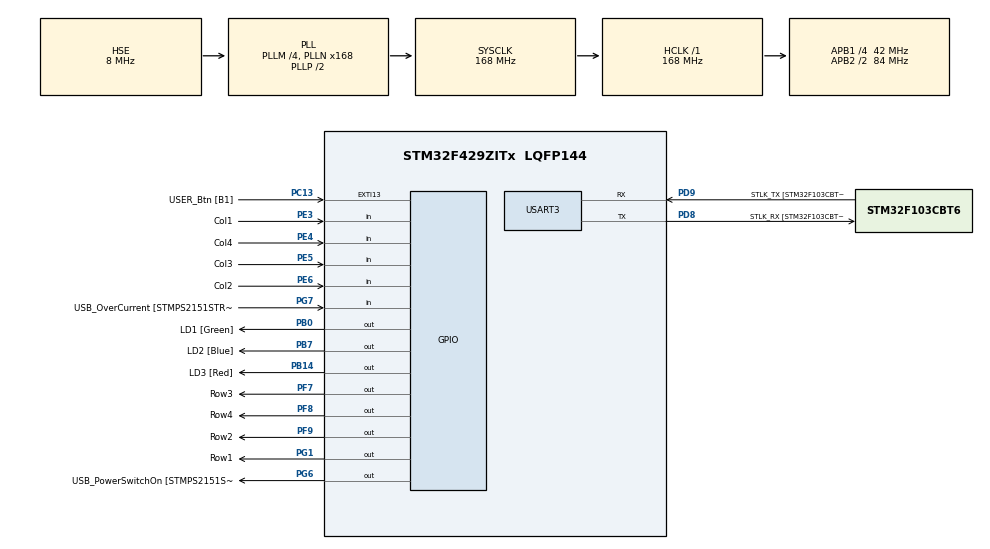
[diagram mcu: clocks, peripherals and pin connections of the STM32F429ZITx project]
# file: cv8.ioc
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Mcu.Family=STM32F4
Mcu.Name=STM32F429ZITx
Mcu.Package=LQFP144
NVIC.PriorityGroup=NVIC_PRIORITYGROUP_4
NVIC.TIM2_IRQn=true\:0\:0\:false\:false\:true\:true\:true
PA1.GPIO_Label=RMII_REF_CLK [LAN8742A-CZ-TR_REFCLK0]
PA1.Signal=ETH_REF_CLK
PA10.GPIO_Label=USB_ID
PA10.Signal=USB_OTG_FS_ID
PA11.GPIO_Label=USB_DM
PA11.Signal=USB_OTG_FS_DM
PA12.GPIO_Label=USB_DP
PA12.Signal=USB_OTG_FS_DP
PA13.GPIO_Label=TMS
PA13.Mode=Serial_Wire
PA13.Signal=SYS_JTMS-SWDIO
PA14.GPIO_Label=TCK
PA14.Mode=Serial_Wire
PA14.Signal=SYS_JTCK-SWCLK
PA2.GPIO_Label=RMII_MDIO [LAN8742A-CZ-TR_MDIO]
PA2.Signal=ETH_MDIO
PA7.GPIO_Label=RMII_CRS_DV [LAN8742A-CZ-TR_CRS_DV]
PA7.Signal=ETH_CRS_DV
PA8.GPIO_Label=USB_SOF [TP1]
PA8.Signal=USB_OTG_FS_SOF
PA9.GPIO_Label=USB_VBUS
PA9.Signal=USB_OTG_FS_VBUS
PB0.GPIO_Label=LD1 [Green]
PB0.Signal=GPIO_Output
PB13.GPIO_Label=RMII_TXD1 [LAN8742A-CZ-TR_TXD1]
PB13.Signal=ETH_TXD1
PB14.GPIO_Label=LD3 [Red]
PB14.Signal=GPIO_Output
PB7.GPIO_Label=LD2 [Blue]
PB7.Signal=GPIO_Output
PC1.GPIO_Label=RMII_MDC [LAN8742A-CZ-TR_MDC]
PC1.Signal=ETH_MDC
PC13.GPIO_Label=USER_Btn [B1]
PC13.Signal=GPXTI13
PC14/OSC32_IN.Mode=LSE-External-Oscillator
PC14/OSC32_IN.Signal=RCC_OSC32_IN
PC15/OSC32_OUT.Mode=LSE-External-Oscillator
PC15/OSC32_OUT.Signal=RCC_OSC32_OUT
PC4.GPIO_Label=RMII_RXD0 [LAN8742A-CZ-TR_RXD0]
PC4.Signal=ETH_RXD0
PC5.GPIO_Label=RMII_RXD1 [LAN8742A-CZ-TR_RXD1]
PC5.Signal=ETH_RXD1
PD8.GPIO_Label=STLK_RX [STM32F103CBT6_PA3]
PD8.Mode=Asynchronous
PD8.Signal=USART3_TX
PD9.GPIO_Label=STLK_TX [STM32F103CBT6_PA2]
PD9.Mode=Asynchronous
PD9.Signal=USART3_RX
PE3.GPIO_Label=Col1
PE3.GPIO_PuPd=GPIO_PULLUP
PE3.Signal=GPIO_Input
PE4.GPIO_Label=Col4
PE4.GPIO_PuPd=GPIO_PULLUP
PE4.Signal=GPIO_Input
PE5.GPIO_Label=Col3
PE5.GPIO_PuPd=GPIO_PULLUP
PE5.Signal=GPIO_Input
PE6.GPIO_Label=Col2
PE6.GPIO_PuPd=GPIO_PULLUP
PE6.Signal=GPIO_Input
PF7.GPIO_Label=Row3
PF7.GPIO_ModeDefaultOutputPP=GPIO_MODE_OUTPUT_OD
PF7.Signal=GPIO_Output
PF8.GPIO_Label=Row4
PF8.GPIO_ModeDefaultOutputPP=GPIO_MODE_OUTPUT_OD
PF8.Signal=GPIO_Output
PF9.GPIO_Label=Row2
PF9.GPIO_ModeDefaultOutputPP=GPIO_MODE_OUTPUT_OD
PF9.Signal=GPIO_Output
PG1.GPIO_Label=Row1
PG1.GPIO_ModeDefaultOutputPP=GPIO_MODE_OUTPUT_OD
PG1.Signal=GPIO_Output
PG11.GPIO_Label=RMII_TX_EN [LAN8742A-CZ-TR_TXEN]
PG11.Signal=ETH_TX_EN
PG13.GPIO_Label=RMII_TXD0 [LAN8742A-CZ-TR_TXD0]
PG13.Signal=ETH_TXD0
PG6.GPIO_Label=USB_PowerSwitchOn [STMPS2151STR_EN]
PG6.Signal=GPIO_Output
PG7.GPIO_Label=USB_OverCurrent [STMPS2151STR_FAULT]
PG7.Signal=GPIO_Input
PH0/OSC_IN.GPIO_Label=MCO [STM32F103CBT6_PA8]
PH0/OSC_IN.Mode=HSE-External-Clock-Source
PH0/OSC_IN.Signal=RCC_OSC_IN
PH1/OSC_OUT.Mode=HSE-External-Clock-Source
PH1/OSC_OUT.Signal=RCC_OSC_OUT
ProjectManager.HeapSize=0x200
ProjectManager.StackSize=0x400
ProjectManager.TargetToolchain=STM32CubeIDE
RCC.48MHZClocksFreq_Value=48000000
RCC.AHBFreq_Value=168000000
RCC.APB1CLKDivider=RCC_HCLK_DIV4
RCC.APB1Freq_Value=42000000
RCC.APB1TimFreq_Value=84000000
RCC.APB2CLKDivider=RCC_HCLK_DIV2
RCC.APB2Freq_Value=84000000
RCC.APB2TimCLKDivider=2
RCC.APB2TimFreq_Value=168000000
RCC.CortexFreq_Value=168000000
RCC.HCLKFreq_Value=168000000
RCC.HSE_VALUE=8000000
RCC.HSI_VALUE=16000000
RCC.PLLM=4
RCC.PLLMUL=RCC_PLL_MUL9
RCC.PLLN=168
RCC.PLLQ=7
RCC.PLLSourceVirtual=RCC_PLLSOURCE_HSE
RCC.PRESCALERUSB=RCC_USBCLKSOURCE_PLL_DIV1_5
RCC.SYSCLKFreq_VALUE=168000000
RCC.SYSCLKSource=RCC_SYSCLKSOURCE_PLLCLK
RCC.SYSCLKSourceVirtual=RCC_SYSCLKSOURCE_PLLCLK
RCC.USBFreq_Value=48000000
RCC.VCOOutputFreq_Value=336000000
TIM2.AutoReloadPreload=TIM_AUTORELOAD_PRELOAD_ENABLE
TIM2.Period=99
TIM2.Prescaler=8399
USART3.VirtualMode=VM_ASYNC
VP_TIM2_VS_ClockSourceINT.Mode=Internal
board=NUCLEO-F429ZI

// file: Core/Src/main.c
/* USER CODE BEGIN Header */
/**
 ******************************************************************************
 * @file           : main.c
 * @brief          : Main program body
 ******************************************************************************
 * @attention
 *
 * <h2><center>&copy; Copyright (c) 2020 STMicroelectronics.
 * All rights reserved.</center></h2>
 *
 * This software component is licensed by ST under BSD 3-Clause license,
 * the "License"; You may not use this file except in compliance with the
 * License. You may obtain a copy of the License at:
 *                        opensource.org/licenses/BSD-3-Clause
 *
 ******************************************************************************
 */
/* USER CODE END Header */

#include "main.h"

/* USER CODE BEGIN Includes */
#include <stdio.h>
/* USER CODE END Includes */

TIM_HandleTypeDef htim2;

UART_HandleTypeDef huart3;

/* USER CODE BEGIN PV */
static volatile uint8_t key = -1;
/* USER CODE END PV */

void SystemClock_Config(void);
static void MX_GPIO_Init(void);
static void MX_USART3_UART_Init(void);
static void MX_TIM2_Init(void);

/* USER CODE BEGIN 0 */
int __io_putchar(int ch) {
	ITM_SendChar(ch);
	return 0;
}
/* USER CODE END 0 */

int main(void) {
	/* USER CODE BEGIN 1 */
	const uint8_t code[5] = { 7, 9, 3, 2, 12 };
	static uint8_t pressed[5] = { 0, 0, 0, 0, 0 };
	uint8_t counter = 0;
	uint32_t tick = 0;
	uint8_t match = 0;
	static uint32_t delay = 0;
	/* USER CODE END 1 */

	/* MCU Configuration--------------------------------------------------------*/

	/* Reset of all peripherals, Initializes the Flash interface and the Systick. */
	HAL_Init();

	/* Configure the system clock */
	SystemClock_Config();

	/* Initialize all configured peripherals */
	MX_GPIO_Init();
	MX_USART3_UART_Init();
	MX_TIM2_Init();
	/* USER CODE BEGIN 2 */

	/* USER CODE BEGIN 2 */
	HAL_TIM_Base_Start_IT(&htim2);
	/* USER CODE END 2 */

	/* Infinite loop */
	/* USER CODE BEGIN WHILE */
	while (1) {
		HAL_Delay(250);
		tick = HAL_GetTick();

		if ((tick - delay) > 3000) // Checking "Out of time" status
				{
			printf("Ran out of time\n");
			counter = 0;
			match = 0;
			delay = HAL_GetTick(); // new value of time for timer
		}

		if (key != -1) //was pressed correct button
				{
			delay = HAL_GetTick(); // new value of time for timer
			printf("Pressed: %d\n", key);
			pressed[counter] = key; // value of key stored

			if (pressed[counter] == code[counter]) // key was correct
					{
				match++;
			}

			counter++;

			if (counter = 5) // if counter is full
					{
				if (match = 5) // if password is correct
						{
					printf("Opened \n");
					HAL_GPIO_WritePin(LD1_GPIO_Port, LD1_Pin, GPIO_PIN_SET);
					HAL_Delay(1000);
					HAL_GPIO_WritePin(LD1_GPIO_Port, LD1_Pin, GPIO_PIN_RESET);
				} else {
					printf("Incorrect password \n");
				}
				counter = 0;
				match = 0;
				printf("Clear password \n");
			}
			key = -1;
		}
		/* USER CODE END WHILE */

	}
}

void SystemClock_Config(void) {
	RCC_OscInitTypeDef RCC_OscInitStruct = { 0 };
	RCC_ClkInitTypeDef RCC_ClkInitStruct = { 0 };

	/** Configure the main internal regulator output voltage
	 */
	__HAL_RCC_PWR_CLK_ENABLE();
	__HAL_PWR_VOLTAGESCALING_CONFIG(PWR_REGULATOR_VOLTAGE_SCALE1);
	/** Initializes the CPU, AHB and APB busses clocks
	 */
	RCC_OscInitStruct.OscillatorType = RCC_OSCILLATORTYPE_HSE;
	RCC_OscInitStruct.HSEState = RCC_HSE_BYPASS;
	RCC_OscInitStruct.PLL.PLLState = RCC_PLL_ON;
	RCC_OscInitStruct.PLL.PLLSource = RCC_PLLSOURCE_HSE;
	RCC_OscInitStruct.PLL.PLLM = 4;
	RCC_OscInitStruct.PLL.PLLN = 168;
	RCC_OscInitStruct.PLL.PLLP = RCC_PLLP_DIV2;
	RCC_OscInitStruct.PLL.PLLQ = 7;
	if (HAL_RCC_OscConfig(&RCC_OscInitStruct) != HAL_OK) {
		Error_Handler();
	}
	/** Initializes the CPU, AHB and APB busses clocks
	 */
	RCC_ClkInitStruct.ClockType = RCC_CLOCKTYPE_HCLK | RCC_CLOCKTYPE_SYSCLK
			| RCC_CLOCKTYPE_PCLK1 | RCC_CLOCKTYPE_PCLK2;
	RCC_ClkInitStruct.SYSCLKSource = RCC_SYSCLKSOURCE_PLLCLK;
	RCC_ClkInitStruct.AHBCLKDivider = RCC_SYSCLK_DIV1;
	RCC_ClkInitStruct.APB1CLKDivider = RCC_HCLK_DIV4;
	RCC_ClkInitStruct.APB2CLKDivider = RCC_HCLK_DIV2;

	if (HAL_RCC_ClockConfig(&RCC_ClkInitStruct, FLASH_LATENCY_5) != HAL_OK) {
		Error_Handler();
	}
}

static void MX_TIM2_Init(void) {

	TIM_ClockConfigTypeDef sClockSourceConfig = { 0 };
	TIM_MasterConfigTypeDef sMasterConfig = { 0 };

	htim2.Instance = TIM2;
	htim2.Init.Prescaler = 8399;
	htim2.Init.CounterMode = TIM_COUNTERMODE_UP;
	htim2.Init.Period = 99;
	htim2.Init.ClockDivision = TIM_CLOCKDIVISION_DIV1;
	htim2.Init.AutoReloadPreload = TIM_AUTORELOAD_PRELOAD_ENABLE;
	if (HAL_TIM_Base_Init(&htim2) != HAL_OK) {
		Error_Handler();
	}
	sClockSourceConfig.ClockSource = TIM_CLOCKSOURCE_INTERNAL;
	if (HAL_TIM_ConfigClockSource(&htim2, &sClockSourceConfig) != HAL_OK) {
		Error_Handler();
	}
	sMasterConfig.MasterOutputTrigger = TIM_TRGO_RESET;
	sMasterConfig.MasterSlaveMode = TIM_MASTERSLAVEMODE_DISABLE;
	if (HAL_TIMEx_MasterConfigSynchronization(&htim2, &sMasterConfig)
			!= HAL_OK) {
		Error_Handler();
	}

}

static void MX_USART3_UART_Init(void) {

	huart3.Instance = USART3;
	huart3.Init.BaudRate = 115200;
	huart3.Init.WordLength = UART_WORDLENGTH_8B;
	huart3.Init.StopBits = UART_STOPBITS_1;
	huart3.Init.Parity = UART_PARITY_NONE;
	huart3.Init.Mode = UART_MODE_TX_RX;
	huart3.Init.HwFlowCtl = UART_HWCONTROL_NONE;
	huart3.Init.OverSampling = UART_OVERSAMPLING_16;
	if (HAL_UART_Init(&huart3) != HAL_OK) {
		Error_Handler();
	}

}

static void MX_GPIO_Init(void) {
	GPIO_InitTypeDef GPIO_InitStruct = { 0 };

	/* GPIO Ports Clock Enable */
	__HAL_RCC_GPIOE_CLK_ENABLE();
	__HAL_RCC_GPIOC_CLK_ENABLE();
	__HAL_RCC_GPIOF_CLK_ENABLE();
	__HAL_RCC_GPIOH_CLK_ENABLE();
	__HAL_RCC_GPIOA_CLK_ENABLE();
	__HAL_RCC_GPIOB_CLK_ENABLE();
	__HAL_RCC_GPIOG_CLK_ENABLE();
	__HAL_RCC_GPIOD_CLK_ENABLE();

	/*Configure GPIO pin Output Level */
	HAL_GPIO_WritePin(GPIOF, Row3_Pin | Row4_Pin | Row2_Pin, GPIO_PIN_RESET);

	/*Configure GPIO pin Output Level */
	HAL_GPIO_WritePin(GPIOB, LD1_Pin | LD3_Pin | LD2_Pin, GPIO_PIN_RESET);

	/*Configure GPIO pin Output Level */
	HAL_GPIO_WritePin(GPIOG, Row1_Pin | USB_PowerSwitchOn_Pin, GPIO_PIN_RESET);

	/*Configure GPIO pins : Col1_Pin Col4_Pin Col3_Pin Col2_Pin */
	GPIO_InitStruct.Pin = Col1_Pin | Col4_Pin | Col3_Pin | Col2_Pin;
	GPIO_InitStruct.Mode = GPIO_MODE_INPUT;
	GPIO_InitStruct.Pull = GPIO_PULLUP;
	HAL_GPIO_Init(GPIOE, &GPIO_InitStruct);

	/*Configure GPIO pin : USER_Btn_Pin */
	GPIO_InitStruct.Pin = USER_Btn_Pin;
	GPIO_InitStruct.Mode = GPIO_MODE_IT_RISING;
	GPIO_InitStruct.Pull = GPIO_NOPULL;
	HAL_GPIO_Init(USER_Btn_GPIO_Port, &GPIO_InitStruct);

	/*Configure GPIO pins : Row3_Pin Row4_Pin Row2_Pin */
	GPIO_InitStruct.Pin = Row3_Pin | Row4_Pin | Row2_Pin;
	GPIO_InitStruct.Mode = GPIO_MODE_OUTPUT_OD;
	GPIO_InitStruct.Pull = GPIO_NOPULL;
	GPIO_InitStruct.Speed = GPIO_SPEED_FREQ_LOW;
	HAL_GPIO_Init(GPIOF, &GPIO_InitStruct);

	/*Configure GPIO pins : RMII_MDC_Pin RMII_RXD0_Pin RMII_RXD1_Pin */
	GPIO_InitStruct.Pin = RMII_MDC_Pin | RMII_RXD0_Pin | RMII_RXD1_Pin;
	GPIO_InitStruct.Mode = GPIO_MODE_AF_PP;
	GPIO_InitStruct.Pull = GPIO_NOPULL;
	GPIO_InitStruct.Speed = GPIO_SPEED_FREQ_VERY_HIGH;
	GPIO_InitStruct.Alternate = GPIO_AF11_ETH;
	HAL_GPIO_Init(GPIOC, &GPIO_InitStruct);

	/*Configure GPIO pins : RMII_REF_CLK_Pin RMII_MDIO_Pin RMII_CRS_DV_Pin */
	GPIO_InitStruct.Pin = RMII_REF_CLK_Pin | RMII_MDIO_Pin | RMII_CRS_DV_Pin;
	GPIO_InitStruct.Mode = GPIO_MODE_AF_PP;
	GPIO_InitStruct.Pull = GPIO_NOPULL;
	GPIO_InitStruct.Speed = GPIO_SPEED_FREQ_VERY_HIGH;
	GPIO_InitStruct.Alternate = GPIO_AF11_ETH;
	HAL_GPIO_Init(GPIOA, &GPIO_InitStruct);

	/*Configure GPIO pins : LD1_Pin LD3_Pin LD2_Pin */
	GPIO_InitStruct.Pin = LD1_Pin | LD3_Pin | LD2_Pin;
	GPIO_InitStruct.Mode = GPIO_MODE_OUTPUT_PP;
	GPIO_InitStruct.Pull = GPIO_NOPULL;
	GPIO_InitStruct.Speed = GPIO_SPEED_FREQ_LOW;
	HAL_GPIO_Init(GPIOB, &GPIO_InitStruct);

	/*Configure GPIO pin : Row1_Pin */
	GPIO_InitStruct.Pin = Row1_Pin;
	GPIO_InitStruct.Mode = GPIO_MODE_OUTPUT_OD;
	GPIO_InitStruct.Pull = GPIO_NOPULL;
	GPIO_InitStruct.Speed = GPIO_SPEED_FREQ_LOW;
	HAL_GPIO_Init(Row1_GPIO_Port, &GPIO_InitStruct);

	/*Configure GPIO pin : RMII_TXD1_Pin */
	GPIO_InitStruct.Pin = RMII_TXD1_Pin;
	GPIO_InitStruct.Mode = GPIO_MODE_AF_PP;
	GPIO_InitStruct.Pull = GPIO_NOPULL;
	GPIO_InitStruct.Speed = GPIO_SPEED_FREQ_VERY_HIGH;
	GPIO_InitStruct.Alternate = GPIO_AF11_ETH;
	HAL_GPIO_Init(RMII_TXD1_GPIO_Port, &GPIO_InitStruct);

	/*Configure GPIO pin : USB_PowerSwitchOn_Pin */
	GPIO_InitStruct.Pin = USB_PowerSwitchOn_Pin;
	GPIO_InitStruct.Mode = GPIO_MODE_OUTPUT_PP;
	GPIO_InitStruct.Pull = GPIO_NOPULL;
	GPIO_InitStruct.Speed = GPIO_SPEED_FREQ_LOW;
	HAL_GPIO_Init(USB_PowerSwitchOn_GPIO_Port, &GPIO_InitStruct);

	/*Configure GPIO pin : USB_OverCurrent_Pin */
	GPIO_InitStruct.Pin = USB_OverCurrent_Pin;
	GPIO_InitStruct.Mode = GPIO_MODE_INPUT;
	GPIO_InitStruct.Pull = GPIO_NOPULL;
	HAL_GPIO_Init(USB_OverCurrent_GPIO_Port, &GPIO_InitStruct);

	/*Configure GPIO pins : USB_SOF_Pin USB_ID_Pin USB_DM_Pin USB_DP_Pin */
	GPIO_InitStruct.Pin = USB_SOF_Pin | USB_ID_Pin | USB_DM_Pin | USB_DP_Pin;
	GPIO_InitStruct.Mode = GPIO_MODE_AF_PP;
	GPIO_InitStruct.Pull = GPIO_NOPULL;
	GPIO_InitStruct.Speed = GPIO_SPEED_FREQ_VERY_HIGH;
	GPIO_InitStruct.Alternate = GPIO_AF10_OTG_FS;
	HAL_GPIO_Init(GPIOA, &GPIO_InitStruct);

	/*Configure GPIO pin : USB_VBUS_Pin */
	GPIO_InitStruct.Pin = USB_VBUS_Pin;
	GPIO_InitStruct.Mode = GPIO_MODE_INPUT;
	GPIO_InitStruct.Pull = GPIO_NOPULL;
	HAL_GPIO_Init(USB_VBUS_GPIO_Port, &GPIO_InitStruct);

	/*Configure GPIO pins : RMII_TX_EN_Pin RMII_TXD0_Pin */
	GPIO_InitStruct.Pin = RMII_TX_EN_Pin | RMII_TXD0_Pin;
	GPIO_InitStruct.Mode = GPIO_MODE_AF_PP;
	GPIO_InitStruct.Pull = GPIO_NOPULL;
	GPIO_InitStruct.Speed = GPIO_SPEED_FREQ_VERY_HIGH;
	GPIO_InitStruct.Alternate = GPIO_AF11_ETH;
	HAL_GPIO_Init(GPIOG, &GPIO_InitStruct);

}

/* USER CODE BEGIN 4 */
void HAL_TIM_PeriodElapsedCallback(TIM_HandleTypeDef *htim) {
	static int row = 0;
	static const int keyboard[4][4] = { { 1, 2, 3, 21 }, { 4, 5, 6, 22 }, { 7,
			8, 9, 23 }, { 11, 0, 12, 24 }, };

	if (key == -1) {
		if (HAL_GPIO_ReadPin(Col1_GPIO_Port, Col1_Pin) == GPIO_PIN_RESET)
			key = keyboard[row][0];
		if (HAL_GPIO_ReadPin(Col2_GPIO_Port, Col2_Pin) == GPIO_PIN_RESET)
			key = keyboard[row][1];
		if (HAL_GPIO_ReadPin(Col3_GPIO_Port, Col3_Pin) == GPIO_PIN_RESET)
			key = keyboard[row][2];
		if (HAL_GPIO_ReadPin(Col4_GPIO_Port, Col4_Pin) == GPIO_PIN_RESET)
			key = keyboard[row][3];
	}

	HAL_GPIO_WritePin(Row1_GPIO_Port, Row1_Pin, GPIO_PIN_SET);
	HAL_GPIO_WritePin(Row2_GPIO_Port, Row2_Pin, GPIO_PIN_SET);
	HAL_GPIO_WritePin(Row3_GPIO_Port, Row3_Pin, GPIO_PIN_SET);
	HAL_GPIO_WritePin(Row4_GPIO_Port, Row1_Pin, GPIO_PIN_SET);

	switch (row) {
	case 0:
		row = 1;
		HAL_GPIO_WritePin(Row1_GPIO_Port, Row1_Pin, GPIO_PIN_RESET);
		break;
	case 1:
		row = 2;
		HAL_GPIO_WritePin(Row2_GPIO_Port, Row2_Pin, GPIO_PIN_RESET);
		break;
	case 2:
		row = 3;
		HAL_GPIO_WritePin(Row3_GPIO_Port, Row3_Pin, GPIO_PIN_RESET);
		break;
	case 3:
		row = 0;
		HAL_GPIO_WritePin(Row4_GPIO_Port, Row4_Pin, GPIO_PIN_RESET);
		break;
	}
}
/* USER CODE END 4 */

void Error_Handler(void) {
}

/************************ (C) COPYRIGHT STMicroelectronics *****END OF FILE****/
